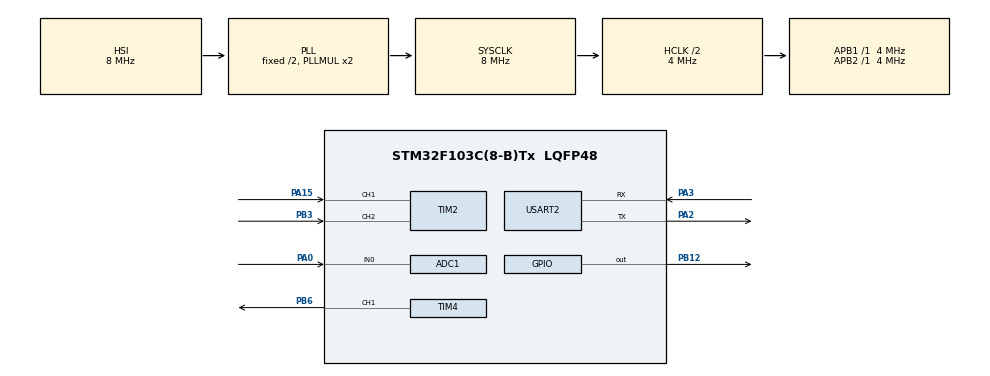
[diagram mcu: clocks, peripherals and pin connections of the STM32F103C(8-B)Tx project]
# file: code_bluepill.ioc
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ADC1.Channel-1\#ChannelRegularConversion=ADC_CHANNEL_0
ADC1.NbrOfConversionFlag=1
ADC1.Rank-1\#ChannelRegularConversion=1
ADC1.SamplingTime-1\#ChannelRegularConversion=ADC_SAMPLETIME_1CYCLE_5
ADC1.master=1
Mcu.Family=STM32F1
Mcu.Name=STM32F103C(8-B)Tx
Mcu.Package=LQFP48
NVIC.PriorityGroup=NVIC_PRIORITYGROUP_4
NVIC.TIM1_UP_IRQn=true\:0\:0\:false\:false\:true\:true\:true\:true
PA0-WKUP.Signal=ADCx_IN0
PA15.Signal=S_TIM2_CH1_ETR
PA2.Mode=Asynchronous
PA2.Signal=USART2_TX
PA3.Mode=Asynchronous
PA3.Signal=USART2_RX
PB12.Signal=GPIO_Output
PB3.Signal=S_TIM2_CH2
PB6.Signal=S_TIM4_CH1
ProjectManager.HeapSize=0x200
ProjectManager.StackSize=0x400
ProjectManager.TargetToolchain=STM32CubeIDE
RCC.AHBCLKDivider=RCC_SYSCLK_DIV2
RCC.AHBFreq_Value=4000000
RCC.APB1Freq_Value=4000000
RCC.APB1TimFreq_Value=4000000
RCC.APB2Freq_Value=4000000
RCC.APB2TimFreq_Value=4000000
RCC.HCLKFreq_Value=4000000
RCC.SYSCLKFreq_VALUE=8000000
RCC.SYSCLKSource=RCC_SYSCLKSOURCE_PLLCLK
RCC.USBFreq_Value=8000000
SH.ADCx_IN0.0=ADC1_IN0,IN0
SH.S_TIM2_CH1_ETR.0=TIM2_CH1,Encoder_Interface
SH.S_TIM2_CH2.0=TIM2_CH2,Encoder_Interface
SH.S_TIM4_CH1.0=TIM4_CH1,PWM Generation1 CH1
TIM1.AutoReloadPreload=TIM_AUTORELOAD_PRELOAD_ENABLE
TIM1.Period=249
TIM1.Prescaler=15
TIM1.TIM_MasterOutputTrigger=TIM_TRGO_UPDATE
TIM2.EncoderMode=TIM_ENCODERMODE_TI12
TIM2.IC1Filter=10
TIM2.IC2Filter=10
TIM4.AutoReloadPreload=TIM_AUTORELOAD_PRELOAD_DISABLE
TIM4.Channel-PWM\ Generation1\ CH1=TIM_CHANNEL_1
TIM4.Period=999
TIM4.Prescaler=3
USART2.VirtualMode=VM_ASYNC
VP_SYS_VS_ND.Mode=No_Debug
VP_TIM1_VS_ClockSourceINT.Mode=Internal
VP_TIM4_VS_ClockSourceINT.Mode=Internal
board=custom

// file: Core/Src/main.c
/* USER CODE BEGIN Header */
/**
  ******************************************************************************
  * @file           : main.c
  * @brief          : Main program body
  ******************************************************************************
  * @attention
  *
  * Copyright (c) 2026 STMicroelectronics.
  * All rights reserved.
  *
  * This software is licensed under terms that can be found in the LICENSE file
  * in the root directory of this software component.
  * If no LICENSE file comes with this software, it is provided AS-IS.
  *
  ******************************************************************************
  */
/* USER CODE END Header */
#include "main.h"

/* USER CODE BEGIN Includes */
#include "stdio.h"
#include "string.h"
#include "math.h"

/* USER CODE END Includes */

/* USER CODE BEGIN PTD */
#define RESOLUTION_ENCODEUR (1170.0f*4.0)
#define Te 0.001f
#define N_CYCLES 3

typedef struct
{
  float speed;
  float angle;
} encoder;

typedef struct {
    float Kp, Ki, Kd;        // gains
    float integral;          // accumulated error
    float prev_error;        // for the derivative term
    float out_min, out_max;   // actuator limits
} PID;

encoder get_speed(void);
void transmit(encoder encoder);
float read_command(void);
void commande_motor(void);
void HAL_TIM_PeriodElapsedCallback(TIM_HandleTypeDef *htim);
void pid_init(PID *pid, float Kp, float Ki, float Kd, float out_min, float out_max);
float pid_update(PID *pid, float setpoint, float measurement, float dt);

/* USER CODE END PTD */

/* USER CODE BEGIN PD */
volatile int32_t pastCounterValue= 0;
volatile float  tempsPrecedent=0;
char message[200];
volatile float data[2];
volatile uint8_t flag_transmission=0;
encoder new_encoder;
volatile uint8_t compteur = 0;
volatile float consigne =0.0f;
volatile float somme_vitesse = 0.0F;
float filtered_speed = 0.0f;
float alpha = 0.1f;

PID motor_pid;

/* USER CODE END PD */

ADC_HandleTypeDef hadc1;

TIM_HandleTypeDef htim1;
TIM_HandleTypeDef htim2;
TIM_HandleTypeDef htim4;

UART_HandleTypeDef huart2;

void SystemClock_Config(void);
static void MX_GPIO_Init(void);
static void MX_TIM1_Init(void);
static void MX_TIM4_Init(void);
static void MX_TIM2_Init(void);
static void MX_USART2_UART_Init(void);
static void MX_ADC1_Init(void);

int main(void)
{

  /* MCU Configuration--------------------------------------------------------*/

  /* Reset of all peripherals, Initializes the Flash interface and the Systick. */
  HAL_Init();

  /* Configure the system clock */
  SystemClock_Config();

  /* Initialize all configured peripherals */
  MX_GPIO_Init();
  MX_TIM1_Init();
  MX_TIM4_Init();
  MX_TIM2_Init();
  MX_USART2_UART_Init();
  MX_ADC1_Init();
  /* USER CODE BEGIN 2 */
  HAL_TIM_PWM_Start(&htim4, TIM_CHANNEL_1);
  HAL_TIM_Encoder_Start(&htim2, TIM_CHANNEL_ALL);
  HAL_TIM_Base_Start_IT(&htim1);
  pid_init(&motor_pid, 13.9f, 848.0f, 0.0f, 0.0f, 999.0f);

  /* USER CODE END 2 */

  /* Infinite loop */
  while (1)
  {

    /* USER CODE BEGIN 3 */
	 if(compteur>=N_CYCLES)
	 {
		 float vitess_moy = somme_vitesse/N_CYCLES;
		 somme_vitesse=0;
		 compteur = 0;
		 filtered_speed = alpha * vitess_moy + (1.0f - alpha) * filtered_speed;
		 encoder encoder_to_send;
		 encoder_to_send.speed = filtered_speed;
		 transmit(encoder_to_send);
	 }

  }
  /* USER CODE END 3 */
}

void SystemClock_Config(void)
{
  RCC_OscInitTypeDef RCC_OscInitStruct = {0};
  RCC_ClkInitTypeDef RCC_ClkInitStruct = {0};
  RCC_PeriphCLKInitTypeDef PeriphClkInit = {0};

  /** Initializes the RCC Oscillators according to the specified parameters
  * in the RCC_OscInitTypeDef structure.
  */
  RCC_OscInitStruct.OscillatorType = RCC_OSCILLATORTYPE_HSI;
  RCC_OscInitStruct.HSIState = RCC_HSI_ON;
  RCC_OscInitStruct.HSICalibrationValue = RCC_HSICALIBRATION_DEFAULT;
  RCC_OscInitStruct.PLL.PLLState = RCC_PLL_ON;
  RCC_OscInitStruct.PLL.PLLSource = RCC_PLLSOURCE_HSI_DIV2;
  RCC_OscInitStruct.PLL.PLLMUL = RCC_PLL_MUL2;
  if (HAL_RCC_OscConfig(&RCC_OscInitStruct) != HAL_OK)
  {
    Error_Handler();
  }

  /** Initializes the CPU, AHB and APB buses clocks
  */
  RCC_ClkInitStruct.ClockType = RCC_CLOCKTYPE_HCLK|RCC_CLOCKTYPE_SYSCLK
                              |RCC_CLOCKTYPE_PCLK1|RCC_CLOCKTYPE_PCLK2;
  RCC_ClkInitStruct.SYSCLKSource = RCC_SYSCLKSOURCE_PLLCLK;
  RCC_ClkInitStruct.AHBCLKDivider = RCC_SYSCLK_DIV2;
  RCC_ClkInitStruct.APB1CLKDivider = RCC_HCLK_DIV1;
  RCC_ClkInitStruct.APB2CLKDivider = RCC_HCLK_DIV1;

  if (HAL_RCC_ClockConfig(&RCC_ClkInitStruct, FLASH_LATENCY_0) != HAL_OK)
  {
    Error_Handler();
  }
  PeriphClkInit.PeriphClockSelection = RCC_PERIPHCLK_ADC;
  PeriphClkInit.AdcClockSelection = RCC_ADCPCLK2_DIV2;
  if (HAL_RCCEx_PeriphCLKConfig(&PeriphClkInit) != HAL_OK)
  {
    Error_Handler();
  }
}

static void MX_ADC1_Init(void)
{

  ADC_ChannelConfTypeDef sConfig = {0};

  /** Common config
  */
  hadc1.Instance = ADC1;
  hadc1.Init.ScanConvMode = ADC_SCAN_DISABLE;
  hadc1.Init.ContinuousConvMode = DISABLE;
  hadc1.Init.DiscontinuousConvMode = DISABLE;
  hadc1.Init.ExternalTrigConv = ADC_SOFTWARE_START;
  hadc1.Init.DataAlign = ADC_DATAALIGN_RIGHT;
  hadc1.Init.NbrOfConversion = 1;
  if (HAL_ADC_Init(&hadc1) != HAL_OK)
  {
    Error_Handler();
  }

  /** Configure Regular Channel
  */
  sConfig.Channel = ADC_CHANNEL_0;
  sConfig.Rank = ADC_REGULAR_RANK_1;
  sConfig.SamplingTime = ADC_SAMPLETIME_1CYCLE_5;
  if (HAL_ADC_ConfigChannel(&hadc1, &sConfig) != HAL_OK)
  {
    Error_Handler();
  }

}

static void MX_TIM1_Init(void)
{

  TIM_ClockConfigTypeDef sClockSourceConfig = {0};
  TIM_MasterConfigTypeDef sMasterConfig = {0};

  htim1.Instance = TIM1;
  htim1.Init.Prescaler = 15;
  htim1.Init.CounterMode = TIM_COUNTERMODE_UP;
  htim1.Init.Period = 249;
  htim1.Init.ClockDivision = TIM_CLOCKDIVISION_DIV1;
  htim1.Init.RepetitionCounter = 0;
  htim1.Init.AutoReloadPreload = TIM_AUTORELOAD_PRELOAD_ENABLE;
  if (HAL_TIM_Base_Init(&htim1) != HAL_OK)
  {
    Error_Handler();
  }
  sClockSourceConfig.ClockSource = TIM_CLOCKSOURCE_INTERNAL;
  if (HAL_TIM_ConfigClockSource(&htim1, &sClockSourceConfig) != HAL_OK)
  {
    Error_Handler();
  }
  sMasterConfig.MasterOutputTrigger = TIM_TRGO_UPDATE;
  sMasterConfig.MasterSlaveMode = TIM_MASTERSLAVEMODE_DISABLE;
  if (HAL_TIMEx_MasterConfigSynchronization(&htim1, &sMasterConfig) != HAL_OK)
  {
    Error_Handler();
  }

}

static void MX_TIM2_Init(void)
{

  TIM_Encoder_InitTypeDef sConfig = {0};
  TIM_MasterConfigTypeDef sMasterConfig = {0};

  htim2.Instance = TIM2;
  htim2.Init.Prescaler = 0;
  htim2.Init.CounterMode = TIM_COUNTERMODE_UP;
  htim2.Init.Period = 65535;
  htim2.Init.ClockDivision = TIM_CLOCKDIVISION_DIV1;
  htim2.Init.AutoReloadPreload = TIM_AUTORELOAD_PRELOAD_DISABLE;
  sConfig.EncoderMode = TIM_ENCODERMODE_TI12;
  sConfig.IC1Polarity = TIM_ICPOLARITY_RISING;
  sConfig.IC1Selection = TIM_ICSELECTION_DIRECTTI;
  sConfig.IC1Prescaler = TIM_ICPSC_DIV1;
  sConfig.IC1Filter = 10;
  sConfig.IC2Polarity = TIM_ICPOLARITY_RISING;
  sConfig.IC2Selection = TIM_ICSELECTION_DIRECTTI;
  sConfig.IC2Prescaler = TIM_ICPSC_DIV1;
  sConfig.IC2Filter = 10;
  if (HAL_TIM_Encoder_Init(&htim2, &sConfig) != HAL_OK)
  {
    Error_Handler();
  }
  sMasterConfig.MasterOutputTrigger = TIM_TRGO_RESET;
  sMasterConfig.MasterSlaveMode = TIM_MASTERSLAVEMODE_DISABLE;
  if (HAL_TIMEx_MasterConfigSynchronization(&htim2, &sMasterConfig) != HAL_OK)
  {
    Error_Handler();
  }

}

static void MX_TIM4_Init(void)
{

  TIM_ClockConfigTypeDef sClockSourceConfig = {0};
  TIM_MasterConfigTypeDef sMasterConfig = {0};
  TIM_OC_InitTypeDef sConfigOC = {0};

  htim4.Instance = TIM4;
  htim4.Init.Prescaler = 3;
  htim4.Init.CounterMode = TIM_COUNTERMODE_UP;
  htim4.Init.Period = 999;
  htim4.Init.ClockDivision = TIM_CLOCKDIVISION_DIV1;
  htim4.Init.AutoReloadPreload = TIM_AUTORELOAD_PRELOAD_DISABLE;
  if (HAL_TIM_Base_Init(&htim4) != HAL_OK)
  {
    Error_Handler();
  }
  sClockSourceConfig.ClockSource = TIM_CLOCKSOURCE_INTERNAL;
  if (HAL_TIM_ConfigClockSource(&htim4, &sClockSourceConfig) != HAL_OK)
  {
    Error_Handler();
  }
  if (HAL_TIM_PWM_Init(&htim4) != HAL_OK)
  {
    Error_Handler();
  }
  sMasterConfig.MasterOutputTrigger = TIM_TRGO_RESET;
  sMasterConfig.MasterSlaveMode = TIM_MASTERSLAVEMODE_DISABLE;
  if (HAL_TIMEx_MasterConfigSynchronization(&htim4, &sMasterConfig) != HAL_OK)
  {
    Error_Handler();
  }
  sConfigOC.OCMode = TIM_OCMODE_PWM1;
  sConfigOC.Pulse = 0;
  sConfigOC.OCPolarity = TIM_OCPOLARITY_HIGH;
  sConfigOC.OCFastMode = TIM_OCFAST_DISABLE;
  if (HAL_TIM_PWM_ConfigChannel(&htim4, &sConfigOC, TIM_CHANNEL_1) != HAL_OK)
  {
    Error_Handler();
  }
  HAL_TIM_MspPostInit(&htim4);

}

static void MX_USART2_UART_Init(void)
{

  huart2.Instance = USART2;
  huart2.Init.BaudRate = 115200;
  huart2.Init.WordLength = UART_WORDLENGTH_8B;
  huart2.Init.StopBits = UART_STOPBITS_1;
  huart2.Init.Parity = UART_PARITY_NONE;
  huart2.Init.Mode = UART_MODE_TX_RX;
  huart2.Init.HwFlowCtl = UART_HWCONTROL_NONE;
  huart2.Init.OverSampling = UART_OVERSAMPLING_16;
  if (HAL_UART_Init(&huart2) != HAL_OK)
  {
    Error_Handler();
  }

}

static void MX_GPIO_Init(void)
{
  GPIO_InitTypeDef GPIO_InitStruct = {0};

  /* GPIO Ports Clock Enable */
  __HAL_RCC_GPIOA_CLK_ENABLE();
  __HAL_RCC_GPIOB_CLK_ENABLE();

  /*Configure GPIO pin Output Level */
  HAL_GPIO_WritePin(GPIOB, GPIO_PIN_12, GPIO_PIN_RESET);

  /*Configure GPIO pin : PB12 */
  GPIO_InitStruct.Pin = GPIO_PIN_12;
  GPIO_InitStruct.Mode = GPIO_MODE_OUTPUT_PP;
  GPIO_InitStruct.Pull = GPIO_NOPULL;
  GPIO_InitStruct.Speed = GPIO_SPEED_FREQ_LOW;
  HAL_GPIO_Init(GPIOB, &GPIO_InitStruct);

}

/* USER CODE BEGIN 4 */
encoder get_speed(void)
{
  encoder encoder;

  int32_t counterValue = (int32_t)__HAL_TIM_GET_COUNTER(&htim2);

  int32_t delta_count = counterValue - pastCounterValue;
  if (delta_count > 32767) {
      delta_count -= 65536;
  } else if (delta_count < -32768) {
      delta_count += 65536;
  }

  float tours = (float)delta_count / RESOLUTION_ENCODEUR;

  encoder.speed = tours * 60.0f / Te;

  encoder.angle = fmodf((float)counterValue * 360.0f / RESOLUTION_ENCODEUR,360.0f);

  pastCounterValue = counterValue;

  return encoder;
}

void transmit(encoder enc)
{
	float commande = read_command();
	uint32_t ccr = (uint32_t)roundf(commande);
	//TIM4->CCR1 = ccr;
	float consigne_non_filtre = commande*(120.0f/999.0);
	consigne = alpha *consigne_non_filtre  + (1.0f - alpha) * consigne;
	float data[2];
	uint8_t header[2] = {170, 85};

	data[0] = consigne;
	data[1] = enc.speed;

	HAL_UART_Transmit(&huart2, (uint8_t*)header, sizeof(header), HAL_MAX_DELAY);
	HAL_UART_Transmit(&huart2, (uint8_t*)data, sizeof(data), HAL_MAX_DELAY);

}

float read_command(void)
{
	HAL_ADC_Start(&hadc1);
	HAL_ADC_PollForConversion(&hadc1, HAL_MAX_DELAY);
	int recu = HAL_ADC_GetValue(&hadc1);

	float vitesse_recu = (recu * 999.0) / 4095.0;
	HAL_ADC_Stop(&hadc1);
	return vitesse_recu;
}

void HAL_TIM_PeriodElapsedCallback(TIM_HandleTypeDef *htim)
{
    if (htim->Instance == TIM1)
    {
    	new_encoder = get_speed();
    	compteur ++;
    	somme_vitesse += new_encoder.speed;
    	float duty = pid_update(&motor_pid, consigne, new_encoder.speed, Te);
    	TIM4->CCR1 = (uint32_t)duty;

    }
}

void pid_init(PID *pid, float Kp, float Ki, float Kd, float out_min, float out_max)
{
    pid->Kp = Kp;  pid->Ki = Ki;  pid->Kd = Kd;
    pid->integral = 0.0f;
    pid->prev_error = 0.0f;
    pid->out_min = out_min;  pid->out_max = out_max;
}

float pid_update(PID *pid, float setpoint, float measurement, float dt)
{
    float error = setpoint - measurement;

    //proportionnel
    float P = pid->Kp * error;

    // IntegraL
    pid->integral += error * dt;
    float I = pid->Ki * pid->integral;

    // Derivative — respond to the rate of change
    float D = pid->Kd * (error - pid->prev_error) / dt;
    pid->prev_error = error;

    float output = P + I + D;

    // Clamp + anti-windup: stop integrating once saturated
    if (output > pid->out_max) {
        output = pid->out_max;
        pid->integral -= error * dt;   // undo this step's accumulation
    } else if (output < pid->out_min) {
        output = pid->out_min;
        pid->integral -= error * dt;
    }
    return output;
}

/* USER CODE END 4 */

void Error_Handler(void)
{
  __disable_irq();
  while (1)
  {
  }
}
